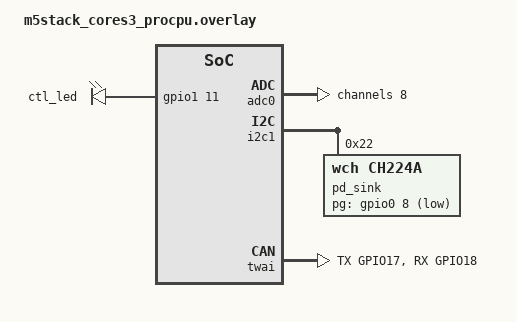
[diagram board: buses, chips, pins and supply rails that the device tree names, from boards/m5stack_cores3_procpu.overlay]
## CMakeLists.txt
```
# SPDX-License-Identifier: Apache-2.0

cmake_minimum_required(VERSION 3.20.0)

# The repository is a Zephyr module (zephyr/module.yml): the power_hub board, the
# bindings, the AP33772S drivers and the code shared with the bay nodes.
list(APPEND ZEPHYR_EXTRA_MODULES ${CMAKE_CURRENT_SOURCE_DIR}/../..)

find_package(Zephyr REQUIRED HINTS $ENV{ZEPHYR_BASE})
project(power_hub)

target_sources(app PRIVATE
  src/main.c
  src/pd.c
  src/rows.c
  src/budget.c
  src/bus.c
  src/events.c
  src/web.c
  src/shell.c
)

# Status page and the shared /rack.css, /rack.mjs, gzipped into the image
set(gen_dir ${ZEPHYR_BINARY_DIR}/include/generated)
generate_inc_file_for_target(app web/index.html ${gen_dir}/index.html.gz.inc --gzip)
hwtr_web_assets(hub_http)
# Firmware updates (when built with MCUboot): /api/update, /api/update/begin
hwtr_web_update(hub_http)

# HTTP resources of the hub_http service live in their own iterable section
zephyr_linker_sources(SECTIONS web/sections-rom.ld)
```

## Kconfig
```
# SPDX-License-Identifier: Apache-2.0

mainmenu "hw-testing-rack power hub"

menu "Power hub"

config HUB_EPR_ALLOWED
	bool "This hub's buck inductor is rated for 28 V EPR"
	help
	  The hub's L1 (and the nodes'), FXL0630-4R7-M, withstands 30 V
	  (Cjiang VW): at 28 V EPR it sees about 24 V each cycle plus the
	  switch node's ringing (docs/datasheet-audit.md, U2).  Off: 28 V
	  EPR can be neither built in nor chosen at run time, and a saved
	  choice of it is ignored.  Turn it on only once L1 is a part rated
	  60 V or more (the FXL0630-4R7-MV75, not sold at JLC or LCSC).

config HUB_PD_EPR
	bool "Ask for 28 V EPR when the charger offers it"
	depends on HUB_EPR_ALLOWED
	help
	  The CH224A asks for 9 V at plug-in (its CFG1 resistor); the
	  firmware then asks for 20 V.  28 V EPR is opt-in: with this on, it
	  asks for 28 V EPR when the charger offers it (PDO 1's EPR Mode
	  Capable bit, or tried when the sink shows no offers), and for 20 V
	  otherwise or when VBUS does not follow.  Never above 28 V: the
	  board's regulator node caps every request.  The choice can be
	  changed at run time (shell, web page) and is saved.

config HUB_VBUS_MIN_MV
	int "VBUS above which the PD sink is powered and talked to (mV)"
	default 4500

config HUB_PD_ADAPTIVE
	bool "Start at 20 V, move to 28 V EPR once a row draws more"
	depends on HUB_EPR_ALLOWED
	help
	  Off (the default): the contract CONFIG_HUB_PD_EPR (or the saved
	  choice) asks for.
	  On, with 28 V EPR chosen: 20 V first, then 28 V EPR (a PD
	  transition: VRACK does not drop) once any row's IMON reaches
	  CONFIG_HUB_PD_ADAPTIVE_MA; back to 20 V only when VBUS goes.
	  Meant for a hub whose CH224A sees close to its 32 V rating on VHV
	  at 28 V (bring-up).

config HUB_PD_ADAPTIVE_MA
	int "Row current that moves an adaptive hub to 28 V EPR (mA)"
	default 1200
	help
	  Used with HUB_PD_ADAPTIVE.  The eFuses limit a row at 1.6 A.

config HUB_PD_REQUEST_MS
	int "VBUS must reach a requested voltage within this long (ms)"
	default 3000
	help
	  The CH224A cannot report the contract: a request counts once the
	  sink says PD, PG is low and VBUS_SENSE reads the voltage asked for.
	  A 28 V request that VBUS does not follow in time falls back to
	  20 V; a 20 V one is reported, and the rows stay off below
	  CONFIG_HUB_ROWS_MIN_MV.

config HUB_CONTRACT_SETTLE_MS
	int "A contract must hold this long before rows are turned on (ms)"
	default 500

config HUB_ROWS_MIN_MV
	int "Contracts below this never power the rows (mV)"
	default 15000
	help
	  The CH224A starts at 9 V (CFG1), and stays there until the firmware
	  asks for more: such a contract never counts as final, the rows stay
	  off (their eFuses are locked out below 15 V anyway) and come on
	  once the contract is up.  There is no input switch: VBUS is VRACK.

config HUB_ROW_STAGGER_MS
	int "Delay between two rows turned on one after the other (ms)"
	default 300

config HUB_ROW_BOOT_MS
	int "Wait after a row comes on before enumerating its nodes (ms)"
	default 2000
	help
	  The nodes boot from the row's VRACK; the enumeration waits for
	  them.  A node that boots later asks by itself.

config HUB_ROW_FLT_BLANK_MS
	int "A row's FLT is ignored this long after the row is turned on (ms)"
	default 50
	help
	  The TPS2660 asserts FLT in shutdown and during its soft start
	  (100 nF dVdT: about 16 ms at 20 V, 22 ms at 28 V, ≤ 39 ms at the
	  worst corner with the PGOOD deglitch): FLT counts
	  only while the row is on and this long after it was turned on.  The red LEDs are fed from ROW_EN, so
	  an off row shows none either.

config HUB_ROW_CYCLE_MS
	int "Default off time of a row power cycle (ms)"
	default 2000

config HUB_BUDGET_MARGIN_PCT
	int "Share of the contract kept free below the rows' budget (%)"
	default 10
	range 0 50
	help
	  The rows may draw the contract's current (the CH224A's granted
	  current: 5 A for 20 V x 5 A or 28 V x 5 A EPR, 3 A with a 3 A
	  cable), or a cap set by hand, less this share: the hub's own draw
	  and IMON's error.  Above it, rows are shed in the shed order before
	  the charger's overcurrent protection cuts the whole rack.  Set at
	  run time with "hub budget margin" (saved).

config HUB_SHED_HOLD_MS
	int "Over the budget this long before a row is shed (ms)"
	default 1000

config HUB_SHED_FAST_MS
	int "Over the contract itself this long before a row is shed (ms)"
	default 250
	help
	  Past the contract's current a charger may cut its output: shed
	  sooner than CONFIG_HUB_SHED_HOLD_MS (the rows are sampled every
	  250 ms).

config HUB_RESTORE_HOLD_S
	int "Contract stable and room to spare this long before a shed row comes back (s)"
	default 10

config HUB_ROW_EMPTY_MA
	int "A row with no node that draws less than this is empty (mA)"
	default 100
	help
	  The shed order passes over an empty row (an output the rack does
	  not use): shedding it would free nothing.  Empty: the rack bus
	  found no node on it and its IMON reads less than this, well above
	  IMON's reading with no load (offset and noise, tens of mA).  A
	  row of nodes the bus cannot reach that draws more keeps its turn.

config HUB_RESTORE_MARGIN_MA
	int "Room needed beyond the most a shed row drew before it comes back (mA)"
	default 200

config HUB_RESTORE_FLAP_S
	int "A row shed again within this long of coming back waits twice as long (s)"
	default 60

config HUB_RESTORE_HOLD_MAX_S
	int "The longest a shed row's restore hold grows to (s)"
	default 600

config HUB_ROW_LIMIT_MA
	int "A row's eFuse current limit (mA)"
	default 1600
	help
	  The TPS26600 on each row output (R_ILIM 7.5k): what the row's bays
	  share.  Each bay's power grant (GRANT, docs/rack-protocol.md) is at
	  most an equal share of it, less the budget margin, at the
	  contract's voltage.

config HUB_NODE_OWN_MW
	int "What a node draws itself, not in its bay's grant (mW)"
	default 1800
	help
	  A bay's grant is for its DATA lead (DATA_VIN, which the node
	  measures): its share less the node itself, the ESP32-S3 on Wi-Fi,
	  its LED and INA226, at worst.

config HUB_CAMERA_OWN_MW
	int "What a bay's camera and its light draw, not in its grant (mW)"
	default 2500
	help
	  Taken off the grant of a bay whose STATUS says it has a camera:
	  streaming with the light on, at worst.

config HUB_EVENTS
	int "Events kept for the web page and the shell"
	default 32

config HUB_HTTP_PORT
	int "TCP port of the web page, JSON API and /metrics"
	default 80
	range 1 65535

module = HUB
module-str = power hub
source "subsys/logging/Kconfig.template.log_config"

endmenu

source "Kconfig.zephyr"
```

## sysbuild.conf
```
# Sysbuild: MCUboot in front of the power hub firmware, for the updates over
# the network (docs/firmware.md, Programming).  `west build --sysbuild`.
SB_CONFIG_BOOTLOADER_MCUBOOT=y
# Swap using offset (sysbuild's default): a test boot, and MCUboot goes
# back to the previous image unless the new one confirms itself
SB_CONFIG_MCUBOOT_MODE_SWAP_USING_OFFSET=y
SB_CONFIG_BOOT_SIGNATURE_TYPE_ECDSA_P256=y
```

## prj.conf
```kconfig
# hw-testing-rack power hub
# SPDX-License-Identifier: Apache-2.0

# --- Peripherals ------------------------------------------------------------
CONFIG_GPIO=y
CONFIG_I2C=y
CONFIG_ADC=y
CONFIG_SENSOR=y
CONFIG_REGULATOR=y
CONFIG_LED=y
CONFIG_CAN=y
CONFIG_INPUT=y
CONFIG_SERIAL=y

# --- Persistent settings: rack id, PD choice, rows, shed order, Wi-Fi --------
CONFIG_FLASH=y
CONFIG_FLASH_MAP=y
CONFIG_NVS=y
CONFIG_SETTINGS=y
CONFIG_SETTINGS_NVS=y

# --- Networking (Wi-Fi station, IPv4, DHCP, mDNS) ----------------------------
CONFIG_NETWORKING=y
CONFIG_WIFI=y
CONFIG_NET_L2_ETHERNET=y
CONFIG_NET_IPV4=y
CONFIG_NET_IPV6=n
CONFIG_NET_TCP=y
CONFIG_NET_UDP=y
CONFIG_NET_DHCPV4=y
CONFIG_NET_SOCKETS=y
CONFIG_NET_MGMT=y
CONFIG_NET_MGMT_EVENT=y
CONFIG_NET_MGMT_EVENT_INFO=y
# No driver retry: hwtr_net retries every 10 s, so "wifi scan" works between tries
# while the AP is unreachable
CONFIG_WIFI_CREDENTIALS=y

CONFIG_NET_HOSTNAME_ENABLE=y
CONFIG_NET_HOSTNAME="rack"
CONFIG_NET_HOSTNAME_DYNAMIC=y
CONFIG_MDNS_RESPONDER=y
# DNS-SD: _http (src/main.c).
# Services come and go with the mode: answers live 2 min in caches (RFC 6762's
# TTL for records that name a host) instead of 10
CONFIG_DNS_SD=y
CONFIG_HWTR_DNSSD=y
CONFIG_MDNS_RESPONDER_TTL=120

# HTTP listener + 6 clients, DHCP, mDNS, spare
CONFIG_NET_MAX_CONTEXTS=15
CONFIG_NET_MAX_CONN=15
# The HTTP server polls its eventfd, its listener and every client in one
# call: 2 + HTTP_SERVER_MAX_CLIENTS.  With fewer, a second client makes poll()
# fail and the server drops every connection
CONFIG_ZVFS_POLL_MAX=8

# --- Shared code (firmware/common) --------------------------------------------
CONFIG_HWTR_NET=y
CONFIG_HWTR_RACK_HUB=y
# The page's actions are admin requests, signed with a key claimed with BOOT
CONFIG_HWTR_ADMIN=y

# --- Shell: console USB-C (USB-Serial-JTAG) only ----------------------------
# No telnet: switching rows is for the admin, and the shell has no login of
# its own; the console USB-C is physical access
CONFIG_SHELL=y
CONFIG_NET_SHELL=y
CONFIG_NET_L2_WIFI_SHELL=y
CONFIG_REBOOT=y
# A pasted line ("wifi cred add ...") lands in one USB packet: room for it
CONFIG_SHELL_BACKEND_SERIAL_RX_RING_BUFFER_SIZE=256

# --- Web page, JSON API, /metrics (HTTP/1.1, port 80) -----------------------
CONFIG_HTTP_SERVER=y
CONFIG_HTTP_SERVER_VERSION_2=n
# HTTP/1.1 only: one HTTP/2 stream context per client, not 10 (180 B each)
CONFIG_HTTP_SERVER_MAX_STREAMS=1
# A browser loading the page opens up to 6 connections at once (the page, its
# CSS and script, /api/status, /api/events); one over the limit is closed
# unanswered, and the page comes up without its CSS
CONFIG_HTTP_SERVER_MAX_CLIENTS=6
# A browser keeps keep-alive connections open; with all client slots taken
# the server stops accepting: drop idle ones quickly (the page polls every 2 s)
CONFIG_HTTP_SERVER_CLIENT_INACTIVITY_TIMEOUT=3
CONFIG_HTTP_SERVER_CLIENT_BUFFER_SIZE=512
CONFIG_HTTP_SERVER_STACK_SIZE=4096
CONFIG_JSON_LIBRARY=y
# Admin requests: X-Bay-Auth, an 81-character value (header values longer
# than the limit are dropped)
CONFIG_HTTP_SERVER_CAPTURE_HEADERS=y
CONFIG_HTTP_SERVER_MAX_HEADER_LEN=112
CONFIG_HTTP_SERVER_CAPTURE_HEADER_BUFFER_SIZE=128
CONFIG_HTTP_SERVER_CAPTURE_HEADER_COUNT=1

# --- Logging, stacks ---------------------------------------------------------
CONFIG_LOG=y
CONFIG_MAIN_STACK_SIZE=4096
CONFIG_SYSTEM_WORKQUEUE_STACK_SIZE=4096
```

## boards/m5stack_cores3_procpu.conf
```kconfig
# M5Stack CoreS3 stand-in (see the overlay)

# The CoreS3's own power chips on its internal bus (AXP2101, AW9523B: the
# board's regulators need them)
CONFIG_MFD=y

# Bench board: stack and heap headroom from the shell, kernel reboot
CONFIG_INIT_STACKS=y
CONFIG_THREAD_STACK_INFO=y
CONFIG_THREAD_NAME=y
CONFIG_THREAD_MONITOR=y
CONFIG_SYS_HEAP_RUNTIME_STATS=y
CONFIG_REBOOT=y
```

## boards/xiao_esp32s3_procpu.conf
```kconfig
# Seeed XIAO ESP32-S3 stand-in (see the overlay)

# Bench board: stack and heap headroom from the shell, kernel reboot
CONFIG_INIT_STACKS=y
CONFIG_THREAD_STACK_INFO=y
CONFIG_THREAD_NAME=y
CONFIG_THREAD_MONITOR=y
CONFIG_SYS_HEAP_RUNTIME_STATS=y
CONFIG_REBOOT=y
```

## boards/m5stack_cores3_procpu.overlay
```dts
/*
 * M5Stack CoreS3 as a bench stand-in for the power hub: the CH224A's
 * negotiation on a breakout (USB-C PD charger -> breakout -> its VBUS out),
 * its PG, VBUS on the ADC, the contract policy, one row (A) as logic levels,
 * Wi-Fi, the web page and the shell.  docs/bench.md has the bench
 * plan.  The CoreS3 itself runs from its USB-C (the PC: console, flashing).
 *
 *   Grove A (red)  G2 SDA, G1 SCL: the CH224A breakout (its CFG3 = SDA,
 *                  CFG2 = SCL; CFG1 6.8k to GND: 9 V at plug-in and I2C on)
 *                  and GND; the CH224A runs from the breakout's own VBUS
 *   Grove B (black) G8 PD_INT <- PG (open drain; the internal pull-up here),
 *                  G9 VBUS_SENSE <- the breakout's VBUS through 100k / 10k
 *                  (2.5 V at 28 V).  Never VBUS straight on a pin.
 *   Grove C (blue) G17 CAN TX, G18 CAN RX: a 3.3 V CAN transceiver module
 *                  (SN65HVD230) to reach a node; without one the bus only
 *                  counts errors
 *   M-Bus          G5 ROW_EN_A, G6 FLT_A (pulled up: no fault), G7 POS_A,
 *                  G10 I2C_PU (nothing on it: the breakout has its own
 *                  pull-ups, or the CH224A's), G43 CTL LED (an LED and 330R
 *                  to GND if you want to see it).  Rows B-D are not wired.
 *
 * The CoreS3's internal bus (I2C0: AXP2101, AW9523B, touch) keeps its pins;
 * the hub's bus moves to Grove port A.  The console is the board's
 * USB-Serial-JTAG (its USB-C), so UART0 and UART1 are off.
 *
 * SPDX-License-Identifier: Apache-2.0
 */

#include "../../boards/hwtr/power_hub/power_hub-pinctrl.dtsi"
#include "../../boards/hwtr/power_hub/power_hub.dtsi"

&pinctrl {
	cores3_twai: cores3_twai {
		group1 {
			pinmux = <TWAI_TX_GPIO17>;
			output-high;
		};

		group2 {
			pinmux = <TWAI_RX_GPIO18>;
			bias-pull-up;
		};
	};
};

&power_hub {
	i2c-pullup-gpios = <&gpio0 10 GPIO_ACTIVE_HIGH>;
};

/* Row A on the M-Bus pins, as logic levels; B-D not wired (rows.c leaves them off) */
&row_a {
	enable-gpios = <&gpio0 5 GPIO_ACTIVE_HIGH>;
	fault-gpios = <&gpio0 6 (GPIO_ACTIVE_LOW | GPIO_PULL_UP)>;
	pos-gpios = <&gpio0 7 GPIO_ACTIVE_HIGH>;
	/delete-property/ current-sense;
};

&row_b {
	status = "disabled";
};

&row_c {
	status = "disabled";
};

&row_d {
	status = "disabled";
};

&imon_a {
	status = "disabled";
};

&imon_b {
	status = "disabled";
};

&imon_c {
	status = "disabled";
};

&imon_d {
	status = "disabled";
};

/* VBUS_SENSE on G9: ADC1 channel 8, 12 dB */
&vbus_sense {
	io-channels = <&adc0 8>;
};

&adc0 {
	channel@8 {
		reg = <8>;
		zephyr,gain = "ADC_GAIN_1_4";
		zephyr,reference = "ADC_REF_INTERNAL";
		zephyr,acquisition-time = <ADC_ACQ_TIME_DEFAULT>;
		zephyr,resolution = <12>;
	};
};

/* The CoreS3's internal bus keeps its pins (G12 SDA, G11 SCL) */
&i2c0 {
	pinctrl-0 = <&i2c0_default>;
};

/* The CH224A moves to Grove port A, PG on G8 */
/delete-node/ &pd_sink;

&i2c1 {
	pd_sink: ch224a@22 {
		compatible = "wch,ch224a";
		reg = <0x22>;
		zephyr,deferred-init;
		pg-gpios = <&gpio0 8 (GPIO_ACTIVE_LOW | GPIO_PULL_UP)>;
		startup-microvolt = <9000000>;
		regulator-min-microvolt = <5000000>;
		regulator-max-microvolt = <28000000>;
	};
};

/* CAN on Grove port C, no standby line */
&twai {
	pinctrl-0 = <&cores3_twai>;
	/delete-property/ phys;
};

&can_phy {
	status = "disabled";
};

&ctl_led {
	gpios = <&gpio1 11 GPIO_ACTIVE_HIGH>;
};

/* The console is the USB-Serial-JTAG; G17/G18 are CAN's, G43 the LED's */
&uart0 {
	status = "disabled";
};

&uart1 {
	status = "disabled";
};
```

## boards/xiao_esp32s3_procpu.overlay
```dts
/*
 * Seeed XIAO ESP32-S3 as a bench stand-in for the power hub: the CH224A's
 * negotiation on a breakout (USB-C PD charger -> breakout -> its VBUS out),
 * its PG, VBUS on the ADC, the contract policy, row A as logic levels with
 * an IMON you can turn (so shedding and the adaptive 20/28 V switch too),
 * Wi-Fi, the web page and the shell.  docs/bench.md has the bench plan.  The
 * XIAO runs from its USB-C (the PC: console, flashing).
 *
 *   D0  G1  VBUS_SENSE <- the breakout's VBUS through 100k / 10k (2.5 V at
 *           28 V; ADC1 channel 0).  Never VBUS straight on a pin.
 *   D1  G2  ROW_EN_A: an LED + 330R to GND shows the row
 *   D2  G3  FLT_A (pulled up: no fault; to GND: an eFuse fault)
 *   D3  G4  PD_INT <- the CH224A's PG (open drain, pulled up here)
 *   D4  G5  SDA -> the CH224A's CFG3     D5  G6  SCL -> its CFG2
 *           (CFG1 6.8k to GND: 9 V at plug-in and I2C on; GND joined)
 *   D6  G43 CAN TX, D7 G44 CAN RX: optional, a 3.3 V transceiver module
 *   D8  G7  POS_A
 *   D9  G8  I2C_PU (nothing on it: the CH224A's own pull-ups)
 *   D10 G9  IMON_A: a 10k potentiometer between 3V3 and GND (1.404 V/A:
 *           ADC1 channel 8, 0 to 2.3 A)
 *   LED     the XIAO's own LED (G21) is CTL
 *
 * Rows B-D are not wired.  The console is the USB-Serial-JTAG, so UART0 is
 * off (D6/D7 are CAN's).
 *
 * SPDX-License-Identifier: Apache-2.0
 */

#include "../../boards/hwtr/power_hub/power_hub-pinctrl.dtsi"
#include "../../boards/hwtr/power_hub/power_hub.dtsi"

&pinctrl {
	xiao_twai: xiao_twai {
		group1 {
			pinmux = <TWAI_TX_GPIO43>;
			output-high;
		};

		group2 {
			pinmux = <TWAI_RX_GPIO44>;
			bias-pull-up;
		};
	};
};

&power_hub {
	i2c-pullup-gpios = <&gpio0 8 GPIO_ACTIVE_HIGH>;
};

&row_a {
	enable-gpios = <&gpio0 2 GPIO_ACTIVE_HIGH>;
	fault-gpios = <&gpio0 3 (GPIO_ACTIVE_LOW | GPIO_PULL_UP)>;
	pos-gpios = <&gpio0 7 GPIO_ACTIVE_HIGH>;
};

&row_b {
	status = "disabled";
};

&row_c {
	status = "disabled";
};

&row_d {
	status = "disabled";
};

/* IMON A on D10 (ADC1 channel 8); B-D not wired */
&imon_a {
	io-channels = <&adc0 8>;
};

&imon_b {
	status = "disabled";
};

&imon_c {
	status = "disabled";
};

&imon_d {
	status = "disabled";
};

/* VBUS_SENSE on D0 (ADC1 channel 0, configured by the hub's devicetree) */
&vbus_sense {
	io-channels = <&adc0 0>;
};

&adc0 {
	channel@8 {
		reg = <8>;
		zephyr,gain = "ADC_GAIN_1_4";
		zephyr,reference = "ADC_REF_INTERNAL";
		zephyr,acquisition-time = <ADC_ACQ_TIME_DEFAULT>;
		zephyr,resolution = <12>;
	};
};

/* The CH224A on the board's I2C0 pins (D4 SDA, D5 SCL), PG on D3 */
&i2c0 {
	pinctrl-0 = <&i2c0_default>;
};

&pd_sink {
	pg-gpios = <&gpio0 4 (GPIO_ACTIVE_LOW | GPIO_PULL_UP)>;
};

/* CAN on D6/D7, no standby line */
&twai {
	pinctrl-0 = <&xiao_twai>;
	/delete-property/ phys;
};

&can_phy {
	status = "disabled";
};

/* CTL is the XIAO's own LED */
&ctl_led {
	gpios = <&gpio0 21 GPIO_ACTIVE_LOW>;
};

&uart0 {
	status = "disabled";
};
```

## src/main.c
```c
/*
 * hw-testing-rack power hub: the rack controller.
 *
 * USB-C PD input (pd.c), the four eFused rows (rows.c), the rack bus master
 * (bus.c), Wi-Fi and the web page (web.c), the "hub" shell (shell.c).
 * main() brings them up in that order and then drives the CTL LED.  Built
 * with MCUboot (sysbuild), it also takes firmware updates over the network
 * (firmware/common/lib/update.c).
 *
 * SPDX-License-Identifier: Apache-2.0
 */

#include <string.h>

#include <zephyr/app_version.h>
#include <zephyr/kernel.h>
#include <zephyr/devicetree.h>
#include <zephyr/drivers/led.h>
#include <zephyr/input/input.h>
#include <zephyr/settings/settings.h>
#include <zephyr/logging/log.h>

#include <hwtr/admin.h>
#include <hwtr/dnssd.h>
#include <hwtr/net.h>
#include <hwtr/update.h>

#include "hub.h"

LOG_MODULE_REGISTER(hub, CONFIG_HUB_LOG_LEVEL);

/* --- Settings: "hub/id", "hub/epr", "hub/rows", "hub/shed", "hub/margin",
 *     "hub/cap", "hub/key" ---------------------------------------------------- */

static char stored_id[HWTR_ID_MAX_LEN + 1];
static bool stored_epr = IS_ENABLED(CONFIG_HUB_PD_EPR);
static uint8_t stored_rows = BIT_MASK(HUB_ROWS);
static char stored_shed[HUB_ROWS + 1];
static int8_t stored_margin = -1; /* -1: CONFIG_HUB_BUDGET_MARGIN_PCT */
static uint32_t stored_cap_mw;

static int hub_settings_set(const char *key, size_t len, settings_read_cb read_cb, void *cb_arg)
{
	ssize_t n;

	if (settings_name_steq(key, "id", NULL)) {
		if (len > HWTR_ID_MAX_LEN) {
			return -EINVAL;
		}
		n = read_cb(cb_arg, stored_id, len);
		if (n >= 0) {
			stored_id[n] = '\0';
		}
		return n < 0 ? (int)n : 0;
	}
	if (settings_name_steq(key, "epr", NULL)) {
		n = read_cb(cb_arg, &stored_epr, sizeof(stored_epr));
		return n < 0 ? (int)n : 0;
	}
	if (settings_name_steq(key, "rows", NULL)) {
		n = read_cb(cb_arg, &stored_rows, sizeof(stored_rows));
		return n < 0 ? (int)n : 0;
	}
	if (settings_name_steq(key, "shed", NULL)) {
		if (len != HUB_ROWS) {
			return 0;
		}
		n = read_cb(cb_arg, stored_shed, HUB_ROWS);
		return n < 0 ? (int)n : 0;
	}
	if (settings_name_steq(key, "margin", NULL)) {
		n = read_cb(cb_arg, &stored_margin, sizeof(stored_margin));
		return n < 0 ? (int)n : 0;
	}
	if (settings_name_steq(key, "cap", NULL)) {
		n = read_cb(cb_arg, &stored_cap_mw, sizeof(stored_cap_mw));
		return n < 0 ? (int)n : 0;
	}
	if (settings_name_steq(key, "key", NULL)) {
		uint8_t k[ACL_KEY_LEN];

		if (len != sizeof(k)) {
			return 0;
		}
		n = read_cb(cb_arg, k, sizeof(k));
		if (n == sizeof(k)) {
			hwtr_admin_load(k);
		}
		return n < 0 ? (int)n : 0;
	}

	return -ENOENT;
}

SETTINGS_STATIC_HANDLER_DEFINE(hub, "hub", NULL, hub_settings_set, NULL, NULL);

int hub_settings_save_id(const char *id)
{
	return settings_save_one("hub/id", id, strlen(id));
}

int hub_settings_save_epr(bool epr)
{
	return settings_save_one("hub/epr", &epr, sizeof(epr));
}

int hub_settings_save_rows(uint8_t wanted)
{
	return settings_save_one("hub/rows", &wanted, sizeof(wanted));
}

int hub_settings_save_shed(const char *order)
{
	return settings_save_one("hub/shed", order, HUB_ROWS);
}

int hub_settings_save_budget(uint8_t margin_pct, uint32_t cap_mw)
{
	int8_t margin = (int8_t)margin_pct;
	int ret = settings_save_one("hub/margin", &margin, sizeof(margin));

	return ret != 0 ? ret : settings_save_one("hub/cap", &cap_mw, sizeof(cap_mw));
}

/* The admin key (firmware/common/lib/admin.c), or NULL to forget it */
static int save_key(const uint8_t *k)
{
	return k != NULL ? settings_save_one("hub/key", k, ACL_KEY_LEN) : settings_delete("hub/key");
}

/* --- BOOT button: a short press confirms a claim, 10 s forgets the key -------- */

#define RESET_HOLD_MS 10000

static void boot_handler(struct k_work *work)
{
	ARG_UNUSED(work);

	if (hwtr_admin_claim_confirm() == 0) {
		hub_event(HUB_EV_PD, "claimed: admin key set (BOOT pressed)");
	}
}

static void reset_handler(struct k_work *work)
{
	ARG_UNUSED(work);

	(void)hwtr_admin_forget();
	hub_event(HUB_EV_FAULT, "admin key forgotten (BOOT held 10 s): the hub can be claimed again");
}

static K_WORK_DEFINE(boot_work, boot_handler);
static K_WORK_DEFINE(reset_work, reset_handler);

static void button_cb(struct input_event *evt, void *user_data)
{
	static int64_t pressed_at;
	int64_t held;

	ARG_UNUSED(user_data);

	if (evt->type != INPUT_EV_KEY || evt->code != INPUT_KEY_0) {
		return;
	}
	if (evt->value != 0) {
		pressed_at = k_uptime_get();
		return;
	}
	held = k_uptime_get() - pressed_at;
	k_work_submit(held >= RESET_HOLD_MS ? &reset_work : &boot_work);
}

INPUT_CALLBACK_DEFINE(NULL, button_cb, NULL);

static const struct hwtr_admin_cfg admin_cfg = {
	.save = save_key,
	.how_to_confirm = "press the hub's BOOT button (short) or run \"hub access claim\"",
};

/* --- CTL LED -------------------------------------------------------------- */

static const struct led_dt_spec ctl = LED_DT_SPEC_GET(DT_NODELABEL(ctl_led));

/*
 * on                 contract, rows as wanted, no fault
 * slow blink         no PD charger (console USB only), or contract not final yet
 * double blink       rows shed for lack of power
 * fast blink         a row in fault
 * flicker            a claim waits for a press on BOOT
 */
static bool led_level(uint32_t tick)
{
	struct hub_pd_status pd;

	pd_status(&pd);
	if (hwtr_admin_claim_pending()) {
		return tick & 1;
	}
	if (rows_fault_mask() != 0) {
		return tick & 2;
	}
	if (rows_shed_mask() != 0 && pd.final) {
		return (tick % 8) == 0 || (tick % 8) == 2;
	}
	if (!pd.final) {
		return (tick & 4) != 0;
	}
	return true;
}

#if defined(CONFIG_HWTR_UPDATE)
/* A new firmware on trial confirms itself once these work as they did before */
static uint32_t update_health(void)
{
	struct hub_bus_status bus;

	bus_status(&bus);
	return (hwtr_net_connected() ? HWTR_UP_WIFI : 0) |
	       ((bus.state == CAN_STATE_ERROR_ACTIVE || bus.state == CAN_STATE_ERROR_WARNING) &&
				bus.nodes > 0
			? HWTR_UP_BUS
			: 0);
}

static void update_event(const char *text)
{
	hub_event(HUB_EV_FW, "%s", text);
}

static const struct hwtr_update_cfg update_cfg = {
	.health = update_health,
	.event = update_event,
};
#endif

#if defined(CONFIG_HWTR_DNSSD)
/* The page, under rack-<id>.local; TXT: the hub's id and its firmware */
static void dnssd_fill(struct hwtr_dnssd_desc *d)
{
	hwtr_dnssd_service(d, "_http", CONFIG_HUB_HTTP_PORT);
	hwtr_dnssd_txt(d, "id", hwtr_net_id());
	hwtr_dnssd_txt(d, "fw", APP_VERSION_STRING);
}
#endif

int main(void)
{
	uint32_t tick = 0;
	int ret;

	LOG_INF("hw-testing-rack power hub");

	hwtr_admin_init(&admin_cfg);

	ret = settings_subsys_init();
	if (ret == 0) {
		ret = settings_load();
	}
	if (ret != 0) {
		LOG_ERR("settings unavailable (%d): defaults only%s", ret,
			ret == -EDEADLK ? "; storage partition not NVS: west flash --erase" : "");
	}

#if defined(CONFIG_HWTR_UPDATE)
	/* A test boot after an update: on trial (and the watchdog on) from here
	 * until Wi-Fi and the rack bus work again
	 */
	(void)hwtr_update_init(&update_cfg);
#endif

	/* First: the rows keep what they were doing across a controller reset */
	ret = rows_init(stored_rows, stored_shed[0] ? stored_shed : NULL, stored_margin,
			stored_cap_mw);
	if (ret != 0) {
		LOG_ERR("rows init failed: %d", ret);
	}

	ret = bus_init();
	if (ret != 0) {
		LOG_ERR("rack bus init failed: %d", ret);
	} else if (rows_on_mask() != 0) {
		bus_enumerate(0);
	}

	ret = pd_init(stored_epr);
	if (ret != 0) {
		LOG_ERR("PD init failed: %d", ret);
	}

	ret = hwtr_net_init("rack", stored_id, NULL);
	if (ret != 0) {
		LOG_ERR("network init failed: %d", ret);
	}
#if defined(CONFIG_HWTR_DNSSD)
	(void)hwtr_dnssd_start(dnssd_fill);
#endif

	ret = web_init();
	if (ret != 0) {
		LOG_ERR("web server init failed: %d", ret);
	}

	while (true) {
		if (led_is_ready_dt(&ctl)) {
			(void)(led_level(tick) ? led_on_dt(&ctl) : led_off_dt(&ctl));
		}
		tick++;
		k_sleep(K_MSEC(125));
	}

	return 0;
}
```

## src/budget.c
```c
/*
 * The rows' power budget: see budget.h and docs/power.md.
 *
 * SPDX-License-Identifier: Apache-2.0
 */

#include <errno.h>
#include <string.h>

#include <zephyr/sys/util.h>

#include "budget.h"

#define HOLD_MS     ((uint32_t)CONFIG_HUB_RESTORE_HOLD_S * 1000U)
#define HOLD_MAX_MS ((uint32_t)CONFIG_HUB_RESTORE_HOLD_MAX_S * 1000U)
#define FLAP_MS     ((int64_t)CONFIG_HUB_RESTORE_FLAP_S * 1000U)
#define MARGIN_MAX  50

void budget_init(struct budget *b, uint8_t margin_pct, uint32_t cap_mw)
{
	memset(b, 0, sizeof(*b));
	b->margin_pct = MIN(margin_pct, MARGIN_MAX);
	b->cap_mw = cap_mw;
	for (int r = 0; r < BUDGET_ROWS; r++) {
		b->hold_ms[r] = HOLD_MS;
	}
}

void budget_contract(struct budget *b, bool final, uint32_t mv, uint32_t ma)
{
	if (mv != b->contract_mv || ma != b->contract_ma) {
		/* Room is measured against the new limit from now on */
		b->room_since = 0;
	}
	b->final = final;
	b->contract_mv = mv;
	b->contract_ma = ma;
}

int budget_set_margin(struct budget *b, int margin_pct)
{
	if (margin_pct < 0 || margin_pct > MARGIN_MAX) {
		return -EINVAL;
	}
	b->margin_pct = (uint8_t)margin_pct;
	b->room_since = 0;
	return 0;
}

void budget_set_cap(struct budget *b, uint32_t cap_mw)
{
	b->cap_mw = cap_mw;
	b->room_since = 0;
}

uint32_t budget_base_ma(const struct budget *b)
{
	uint32_t base = b->contract_ma;

	if (base == 0 || b->contract_mv == 0) {
		return 0;
	}
	if (b->cap_mw != 0) {
		/* A cap in watts: its current follows the contract's voltage */
		base = MIN(base, (uint32_t)((uint64_t)b->cap_mw * 1000U / b->contract_mv));
	}
	return base;
}

uint32_t budget_limit_ma(const struct budget *b)
{
	return budget_base_ma(b) * (100U - b->margin_pct) / 100U;
}

uint32_t budget_grant_mw(const struct budget *b, uint32_t row_bays, uint32_t rack_bays,
			 uint32_t own_mw, uint8_t *by)
{
	uint64_t row_mw, rack_mw, share;

	*by = 0;
	if (b->contract_mv == 0 || row_bays == 0 || rack_bays == 0) {
		return 0;
	}
	row_mw = (uint64_t)CONFIG_HUB_ROW_LIMIT_MA * (100U - b->margin_pct) / 100U *
		 b->contract_mv / 1000U / row_bays;
	rack_mw = (uint64_t)budget_limit_ma(b) * b->contract_mv / 1000U / rack_bays;
	share = MIN(row_mw, rack_mw);
	*by = row_mw <= rack_mw ? BUDGET_BY_ROW : BUDGET_BY_CONTRACT;

	return share > own_mw ? (uint32_t)(share - own_mw) : 0;
}

/*
 * The next row to shed: the first one on in the shed order that is not
 * empty (no node on the bus and next to no current: an output the rack does
 * not use, whose shedding frees nothing), else the first one on; -1 none
 */
static int shed_candidate(const struct budget_rows *rows)
{
	int first = -1;

	for (const char *c = rows->order; *c != '\0'; c++) {
		int r = *c - 'A';

		if (r < 0 || r >= BUDGET_ROWS || !(rows->on & BIT(r))) {
			continue;
		}
		if ((rows->found & BIT(r)) || rows->ma[r] >= CONFIG_HUB_ROW_EMPTY_MA) {
			return r;
		}
		first = first < 0 ? r : first;
	}
	return first;
}

/* The next row to bring back: the last shed one in the shed order, -1 none */
static int restore_candidate(const struct budget_rows *rows)
{
	for (int i = (int)strlen(rows->order) - 1; i >= 0; i--) {
		int r = rows->order[i] - 'A';

		if (r >= 0 && r < BUDGET_ROWS && (rows->shed & BIT(r))) {
			return r;
		}
	}
	return -1;
}

enum budget_act budget_step(struct budget *b, int64_t now, const struct budget_rows *rows,
			    int *row)
{
	int32_t base = (int32_t)budget_base_ma(b);
	int32_t limit = (int32_t)budget_limit_ma(b);
	int32_t total = 0;
	bool due;
	int r;

	for (r = 0; r < BUDGET_ROWS; r++) {
		if (rows->on & BIT(r)) {
			total += MAX(rows->ma[r], 0);
			b->peak_ma[r] = MAX(b->peak_ma[r], rows->ma[r]);
		} else {
			b->peak_ma[r] = 0;
		}
	}

	if (base == 0) {
		/* No contract: rows.c has turned everything off */
		b->over_since = 0;
		b->base_since = 0;
		b->room_since = 0;
		return BUDGET_KEEP;
	}

	if (total > base) {
		b->base_since = b->base_since ? b->base_since : now;
	} else {
		b->base_since = 0;
	}

	if (total > limit) {
		b->over_since = b->over_since ? b->over_since : now;
		b->room_since = 0;
		due = (b->base_since && now - b->base_since >= CONFIG_HUB_SHED_FAST_MS) ||
		      now - b->over_since >= CONFIG_HUB_SHED_HOLD_MS;
		r = due ? shed_candidate(rows) : -1;
		if (r < 0) {
			return BUDGET_KEEP;
		}

		b->need_ma[r] = MAX(b->peak_ma[r], rows->ma[r]);
		b->peak_ma[r] = 0;
		/* Back and shed again soon after: it waits longer next time */
		if (b->back_at[r] != 0 && now - b->back_at[r] < FLAP_MS) {
			b->hold_ms[r] = MIN(b->hold_ms[r] * 2U, HOLD_MAX_MS);
		} else {
			b->hold_ms[r] = HOLD_MS;
		}
		/* The next one waits for what the rows draw without this one */
		b->over_since = 0;
		b->base_since = 0;
		*row = r;
		return BUDGET_SHED;
	}
	b->over_since = 0;

	/* Within the limit: bring a row back once there is room for it */
	r = b->final ? restore_candidate(rows) : -1;
	if (r < 0 || limit - total <= b->need_ma[r] + CONFIG_HUB_RESTORE_MARGIN_MA) {
		b->room_since = 0;
		return BUDGET_KEEP;
	}
	if (b->room_since == 0) {
		b->room_since = now;
		return BUDGET_KEEP;
	}
	if (now - b->room_since < (int64_t)b->hold_ms[r]) {
		return BUDGET_KEEP;
	}

	b->room_since = 0;
	b->back_at[r] = now;
	*row = r;
	return BUDGET_RESTORE;
}
```

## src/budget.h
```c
/*
 * The rows' power budget (docs/power.md): what the charger's contract lets
 * the rows draw, and which row to shed or bring back.  Pure logic, no
 * hardware: rows.c feeds it the contract and the rows' IMON every sample, a
 * test feeds it made-up ones (tests/budget).
 *
 * The budget is a current at VRACK, which is VBUS: a fixed PD contract
 * limits the current (20 V x 5 A = 100 W, 28 V x 5 A EPR = 140 W, 20 V x
 * 3 A with a 3 A cable = 60 W), and IMON measures the rows' current.
 *
 *  - base: the contract's current (the CH224A's granted current), or a cap
 *    set by hand in watts (a charger that shares its power between ports)
 *    below it;
 *  - limit: the base less a margin (the hub's own draw, IMON's error);
 *  - above the limit for CONFIG_HUB_SHED_HOLD_MS, or above the base itself
 *    for CONFIG_HUB_SHED_FAST_MS (before the charger's overcurrent
 *    protection cuts the whole rack), the next row in the shed order goes,
 *    passing over an empty row (no node on the rack bus and IMON under
 *    CONFIG_HUB_ROW_EMPTY_MA: an output the rack does not use);
 *  - a shed row comes back, the last shed first, once the limit has room
 *    for the most it drew plus CONFIG_HUB_RESTORE_MARGIN_MA, for its
 *    restore hold (CONFIG_HUB_RESTORE_HOLD_S); shed again within
 *    CONFIG_HUB_RESTORE_FLAP_S of coming back, its hold doubles (up to
 *    CONFIG_HUB_RESTORE_HOLD_MAX_S).
 *
 * SPDX-License-Identifier: Apache-2.0
 */

#ifndef BUDGET_H_
#define BUDGET_H_

#include <stdbool.h>
#include <stdint.h>

#define BUDGET_ROWS 4

struct budget {
	/* Settings */
	uint8_t margin_pct; /* kept free below the base */
	uint32_t cap_mw;    /* a cap set by hand (mW), 0 none */

	/* The contract */
	bool final;
	uint32_t contract_mv;
	uint32_t contract_ma;

	/* Timers (uptime, ms), 0 not running */
	int64_t over_since;  /* above the limit since */
	int64_t base_since;  /* above the base since */
	int64_t room_since;  /* room for the next row to come back since */

	/* Per row */
	int32_t peak_ma[BUDGET_ROWS];       /* the most it drew since it came on */
	int32_t need_ma[BUDGET_ROWS];       /* the most it drew before it was shed */
	int64_t back_at[BUDGET_ROWS];       /* when it last came back, 0 never */
	uint32_t hold_ms[BUDGET_ROWS];      /* its restore hold */
};

/* What the rows do now, for one sample */
struct budget_rows {
	int32_t ma[BUDGET_ROWS]; /* IMON, 0 when off */
	uint8_t on;              /* rows on */
	uint8_t shed;            /* rows shed for lack of power and wanted back */
	uint8_t found;           /* rows the rack bus found a node on */
	const char *order;       /* shed first to last, e.g. "DCBA" */
};

enum budget_act {
	BUDGET_KEEP,
	BUDGET_SHED,    /* turn the row off (shed) */
	BUDGET_RESTORE, /* the row may come back */
};

void budget_init(struct budget *b, uint8_t margin_pct, uint32_t cap_mw);
/* A new or changed contract (final: stable, the rows may be on); 0 mA none */
void budget_contract(struct budget *b, bool final, uint32_t mv, uint32_t ma);
int budget_set_margin(struct budget *b, int margin_pct);
/* A cap in mW, 0 none: the base is never above the contract */
void budget_set_cap(struct budget *b, uint32_t cap_mw);

/* The contract's current, or the cap's at the contract's voltage if lower (mA), 0
 * without a contract
 */
uint32_t budget_base_ma(const struct budget *b);
/* What the rows may draw (mA): the base less the margin */
uint32_t budget_limit_ma(const struct budget *b);

/* One sample at now (ms): what to do, and to which row (*row) */
enum budget_act budget_step(struct budget *b, int64_t now, const struct budget_rows *rows,
			    int *row);

/* What sets a grant: the same bits as the GRANT frame's byte 2 */
#define BUDGET_BY_ROW      (1U << 0)
#define BUDGET_BY_CONTRACT (1U << 1)

/*
 * A bay's power grant on its DATA lead (mW): the smaller of an equal share
 * of its row's eFuse (CONFIG_HUB_ROW_LIMIT_MA, among row_bays) and of the
 * rows' limit (among rack_bays, the bays of the powered rows), both less the
 * margin at the contract's voltage, less own_mw (the node itself).  0
 * without a contract or bays.  *by: BUDGET_BY_ROW or BUDGET_BY_CONTRACT.
 */
uint32_t budget_grant_mw(const struct budget *b, uint32_t row_bays, uint32_t rack_bays,
			 uint32_t own_mw, uint8_t *by);

#endif /* BUDGET_H_ */
```

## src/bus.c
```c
/*
 * Rack bus master (docs/rack-protocol.md): the TWAI on the star bus, the
 * POS tokens through rows.c, and firmware/common's rack_hub for the
 * enumeration and the node table.  One thread: frames from the TWAI's
 * message queue, a tick every 5 ms, the RACK frame every second.
 *
 * SPDX-License-Identifier: Apache-2.0
 */

#include <string.h>

#include <zephyr/kernel.h>
#include <zephyr/devicetree.h>
#include <zephyr/drivers/can.h>
#include <zephyr/logging/log.h>

#include "budget.h"
#include "hub.h"

LOG_MODULE_REGISTER(bus, CONFIG_HUB_LOG_LEVEL);

#define HUB_NODE   DT_NODELABEL(power_hub)
#define TICK_MS    5
#define RACK_MS    1000
#define STACK_SIZE 3072
#define PRIORITY   K_PRIO_PREEMPT(7)

static const struct device *const can = DEVICE_DT_GET(DT_PHANDLE(HUB_NODE, can));

CAN_MSGQ_DEFINE(rx_msgq, 32);

static struct rack_hub hub;
static K_MUTEX_DEFINE(lock);
static uint32_t rx_count, tx_count, tx_errors, bus_offs;
static uint32_t rx_fps, rx_last;
static int64_t enumerated_ms;
static uint8_t rack_counter;
static struct can_state_change_callback state_cb;

/* Requests from other threads, run by the bus thread */
static atomic_t enum_req;
static uint32_t enum_settle;

static int bus_send(void *ctx, const struct rack_frame *f)
{
	struct can_frame cf = {.id = f->id, .dlc = f->len};
	int ret;

	ARG_UNUSED(ctx);
	memcpy(cf.data, f->data, f->len);

	ret = can_send(can, &cf, K_MSEC(10), NULL, NULL);
	if (ret == 0) {
		tx_count++;
	} else {
		tx_errors++;
	}

	return ret;
}

static void set_pos(void *ctx, int row, bool high)
{
	ARG_UNUSED(ctx);
	rows_pos(row, high);
}

static void on_event(void *ctx, enum rack_hub_event ev, uint8_t node, const void *arg)
{
	char name[4];

	ARG_UNUSED(ctx);
	rack_node_name(node, name);

	switch (ev) {
	case RACK_HUB_EV_ENUM_DONE:
		enumerated_ms = k_uptime_get();
		hub_event(HUB_EV_CAN, "enumeration: %u node(s)", node);
		break;
	case RACK_HUB_EV_NODE_FAILED:
		hub_event(HUB_EV_CAN, "node %s did not confirm its address: row %c stops there",
			  name, name[0]);
		break;
	case RACK_HUB_EV_NODE_LOST:
		hub_event(HUB_EV_CAN, "node %s (0x%02x) lost: no STATUS for %u s", name, node,
			  RACK_HUB_LOST_MS / 1000);
		break;
	case RACK_HUB_EV_NODE_BACK:
		hub_event(HUB_EV_CAN, "node %s (0x%02x) back", name, node);
		break;
	case RACK_HUB_EV_UNSOLICITED:
		LOG_INF("a node asks for an address: re-enumerating");
		break;
	case RACK_HUB_EV_ALERT: {
		const struct rack_alert *a = arg;

		hub_event(HUB_EV_FAULT, "node %s: DUT %s (%u mA)", name,
			  a->code == RACK_ALERT_DUT_OFF ? "switched off by a fault" : "in current limit",
			  a->dut_ma);
		break;
	}
	case RACK_HUB_EV_REPLY: {
		const struct rack_reply *r = arg;
		static const char *const results[] = {"done", "unknown command", "refused", "failed"};

		hub_event(HUB_EV_NODE, "node %s: command 0x%02x %s", name, r->op,
			  r->result < ARRAY_SIZE(results) ? results[r->result] : "?");
		break;
	}
	case RACK_HUB_EV_NO_REPLY: {
		const struct rack_cmd *c = arg;

		hub_event(HUB_EV_NODE, "node %s: no answer to command 0x%02x", name, c->op);
		break;
	}
	default:
		break;
	}
}

static const struct rack_hub_ops ops = {
	.send = bus_send,
	.set_pos = set_pos,
	.event = on_event,
};

static void send_rack(void)
{
	struct hub_pd_status pd;
	struct rack_hub_state s = {0};
	struct rack_frame f;

	pd_status(&pd);
	s.flags = (pd.contract_mv ? RACK_HUB_CONTRACT : 0) |
		  (pd.state == HUB_PD_EPR ? RACK_HUB_EPR : 0) |
		  (rows_shed_mask() ? RACK_HUB_SHED : 0);
	s.mv = (uint16_t)pd.contract_mv;
	s.ma = (uint16_t)pd.contract_ma;
	s.rows_on = rows_on_mask();
	s.rows_fault = rows_fault_mask();
	s.counter = rack_counter++;
	rack_enc_hub(&f, &s);
	(void)bus_send(NULL, &f);
}

BUILD_ASSERT(BUDGET_BY_ROW == RACK_GRANT_ROW && BUDGET_BY_CONTRACT == RACK_GRANT_CONTRACT);

/*
 * Each bay's power grant (GRANT), every second: its share of its row and of
 * the contract, less the node itself and its camera.  The grants are worked
 * out without the bus lock: rows.c calls into this file with its own held.
 */
static void send_grants(void)
{
	uint8_t on = rows_on_mask();
	uint8_t count[RACK_ROWS];
	struct rack_grant g[RACK_ROWS][2]; /* [row][camera] */
	uint32_t rack = 0;

	k_mutex_lock(&lock, K_FOREVER);
	memcpy(count, hub.count, sizeof(count));
	k_mutex_unlock(&lock);

	for (int r = 0; r < RACK_ROWS; r++) {
		rack += (on & BIT(r)) ? count[r] : 0;
	}
	for (int r = 0; r < RACK_ROWS; r++) {
		for (int cam = 0; cam < 2; cam++) {
			uint32_t own = CONFIG_HUB_NODE_OWN_MW + (cam ? CONFIG_HUB_CAMERA_OWN_MW : 0);
			uint32_t mw = rows_grant_mw(count[r], rack, own, &g[r][cam].flags);

			g[r][cam].mw = (uint16_t)MIN(mw, UINT16_MAX);
		}
	}

	k_mutex_lock(&lock, K_FOREVER);
	for (int r = 0; r < RACK_ROWS; r++) {
		for (int p = 1; p <= RACK_POSITIONS && (on & BIT(r)); p++) {
			const struct rack_hub_node *n = &hub.nodes[r][p];
			bool cam = n->have_status && (n->status.flags2 & RACK_ST2_CAMERA);

			if (n->state == RACK_NODE_OK) {
				rack_hub_grant(&hub, RACK_NODE_ID(r, p), &g[r][cam]);
			}
		}
	}
	k_mutex_unlock(&lock);
}

static void state_change(const struct device *dev, struct can_state_change_callback *cb,
			 enum can_state state, struct can_bus_err_cnt err)
{
	ARG_UNUSED(dev);
	ARG_UNUSED(cb);
	ARG_UNUSED(err);

	if (state == CAN_STATE_BUS_OFF) {
		bus_offs++;
	}
}

static void bus_thread(void *p1, void *p2, void *p3)
{
	int64_t next_rack = 0, next_rate = 0;
	struct can_frame cf;

	ARG_UNUSED(p1);
	ARG_UNUSED(p2);
	ARG_UNUSED(p3);

	while (true) {
		int64_t now64;
		uint32_t now;

		if (k_msgq_get(&rx_msgq, &cf, K_MSEC(TICK_MS)) == 0 && !(cf.flags & CAN_FRAME_IDE)) {
			struct rack_frame f = {.id = (uint16_t)cf.id, .len = MIN(cf.dlc, 8)};

			memcpy(f.data, cf.data, f.len);
			rx_count++;
			k_mutex_lock(&lock, K_FOREVER);
			rack_hub_rx(&hub, &f, k_uptime_get_32());
			k_mutex_unlock(&lock);
		}

		now64 = k_uptime_get();
		now = (uint32_t)now64;
		k_mutex_lock(&lock, K_FOREVER);
		if (atomic_cas(&enum_req, 1, 0)) {
			rack_hub_enumerate(&hub, rows_on_mask(), enum_settle, now);
		}
		rack_hub_tick(&hub, now);
		k_mutex_unlock(&lock);

		if (now64 >= next_rack) {
			send_rack();
			send_grants();
			next_rack = now64 + RACK_MS;
		}
		if (now64 >= next_rate) {
			rx_fps = rx_count - rx_last;
			rx_last = rx_count;
			next_rate = now64 + MSEC_PER_SEC;
		}
	}
}

K_THREAD_STACK_DEFINE(bus_stack, STACK_SIZE);
static struct k_thread bus_thread_data;

int bus_init(void)
{
	const struct can_filter all = {.id = 0, .mask = 0, .flags = 0};
	int ret;

	if (!device_is_ready(can)) {
		return -ENODEV;
	}

	rack_hub_init(&hub, &ops, NULL);

	can_init_state_change_callback(&state_cb, state_change);
	ret = can_add_state_change_callback(can, &state_cb);
	if (ret != 0) {
		return ret;
	}
	ret = can_add_rx_filter_msgq(can, &rx_msgq, &all);
	if (ret < 0) {
		return ret;
	}
	/* Also enables the transceiver (STB low) */
	ret = can_start(can);
	if (ret != 0 && ret != -EALREADY) {
		return ret;
	}

	k_thread_create(&bus_thread_data, bus_stack, K_THREAD_STACK_SIZEOF(bus_stack), bus_thread,
			NULL, NULL, NULL, PRIORITY, 0, K_NO_WAIT);
	k_thread_name_set(&bus_thread_data, "rack_bus");

	return 0;
}

void bus_enumerate(uint32_t settle_ms)
{
	enum_settle = settle_ms;
	atomic_set(&enum_req, 1);
}

void bus_row_off(int row)
{
	k_mutex_lock(&lock, K_FOREVER);
	rack_hub_row_off(&hub, row);
	k_mutex_unlock(&lock);
}

int bus_cmd(uint8_t node, uint8_t op, const uint8_t *args, uint8_t nargs)
{
	int seq;

	k_mutex_lock(&lock, K_FOREVER);
	seq = rack_hub_cmd(&hub, node, op, args, nargs, k_uptime_get_32());
	k_mutex_unlock(&lock);

	return seq < 0 ? -EBUSY : seq;
}

void bus_status(struct hub_bus_status *st)
{
	memset(st, 0, sizeof(*st));
	(void)can_get_state(can, &st->state, &st->err);
	st->rx = rx_count;
	st->tx = tx_count;
	st->tx_errors = tx_errors;
	st->bus_off = bus_offs;
	st->rx_fps = rx_fps;
	st->enumerated_ms = enumerated_ms;

	k_mutex_lock(&lock, K_FOREVER);
	st->enumerating = hub.phase != RACK_HUB_IDLE || atomic_get(&enum_req) != 0;
	st->enumerations = hub.enumerations;
	st->nodes = rack_hub_count(&hub);
	for (int r = 0; r < RACK_ROWS; r++) {
		for (int p = 1; p <= RACK_POSITIONS; p++) {
			st->lost += hub.nodes[r][p].state == RACK_NODE_LOST;
		}
	}
	k_mutex_unlock(&lock);
}

int bus_row_nodes(int row, struct rack_hub_node nodes[RACK_POSITIONS + 1])
{
	int n;

	k_mutex_lock(&lock, K_FOREVER);
	memcpy(nodes, hub.nodes[row], sizeof(hub.nodes[row]));
	n = hub.count[row];
	k_mutex_unlock(&lock);

	return n;
}

uint8_t bus_rows_found(void)
{
	uint8_t m = 0;

	k_mutex_lock(&lock, K_FOREVER);
	for (int r = 0; r < RACK_ROWS; r++) {
		m |= hub.count[r] != 0 ? BIT(r) : 0;
	}
	k_mutex_unlock(&lock);

	return m;
}
```

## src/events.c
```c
/*
 * The hub's event log: contract changes, row faults and sequencing,
 * enumerations, node replies.  A ring in RAM, newest first, also logged.
 *
 * SPDX-License-Identifier: Apache-2.0
 */

#include <stdarg.h>
#include <stdio.h>

#include <zephyr/kernel.h>
#include <zephyr/logging/log.h>

#include "hub.h"

LOG_MODULE_REGISTER(events, CONFIG_HUB_LOG_LEVEL);

static struct hub_event ring[CONFIG_HUB_EVENTS];
static uint32_t count;
static K_MUTEX_DEFINE(lock);

static const char *const kinds[] = {
	[HUB_EV_PD] = "pd", [HUB_EV_ROW] = "row", [HUB_EV_FAULT] = "fault",
	[HUB_EV_CAN] = "can", [HUB_EV_NODE] = "node", [HUB_EV_FW] = "firmware",
};

const char *hub_ev_kind_str(uint8_t kind)
{
	return kind < ARRAY_SIZE(kinds) ? kinds[kind] : "?";
}

void hub_event(enum hub_ev_kind kind, const char *fmt, ...)
{
	struct hub_event *e;
	va_list ap;

	k_mutex_lock(&lock, K_FOREVER);
	e = &ring[count % CONFIG_HUB_EVENTS];
	e->t_ms = k_uptime_get();
	e->kind = kind;
	va_start(ap, fmt);
	vsnprintf(e->text, sizeof(e->text), fmt, ap);
	va_end(ap);
	count++;
	k_mutex_unlock(&lock);

	if (kind == HUB_EV_FAULT) {
		LOG_WRN("%s", e->text);
	} else {
		LOG_INF("%s: %s", hub_ev_kind_str(kind), e->text);
	}
}

int hub_events_get(struct hub_event *out, int max)
{
	int n;

	k_mutex_lock(&lock, K_FOREVER);
	n = MIN((uint32_t)max, MIN(count, CONFIG_HUB_EVENTS));
	for (int i = 0; i < n; i++) {
		out[i] = ring[(count - 1 - i) % CONFIG_HUB_EVENTS];
	}
	k_mutex_unlock(&lock);

	return n;
}
```
